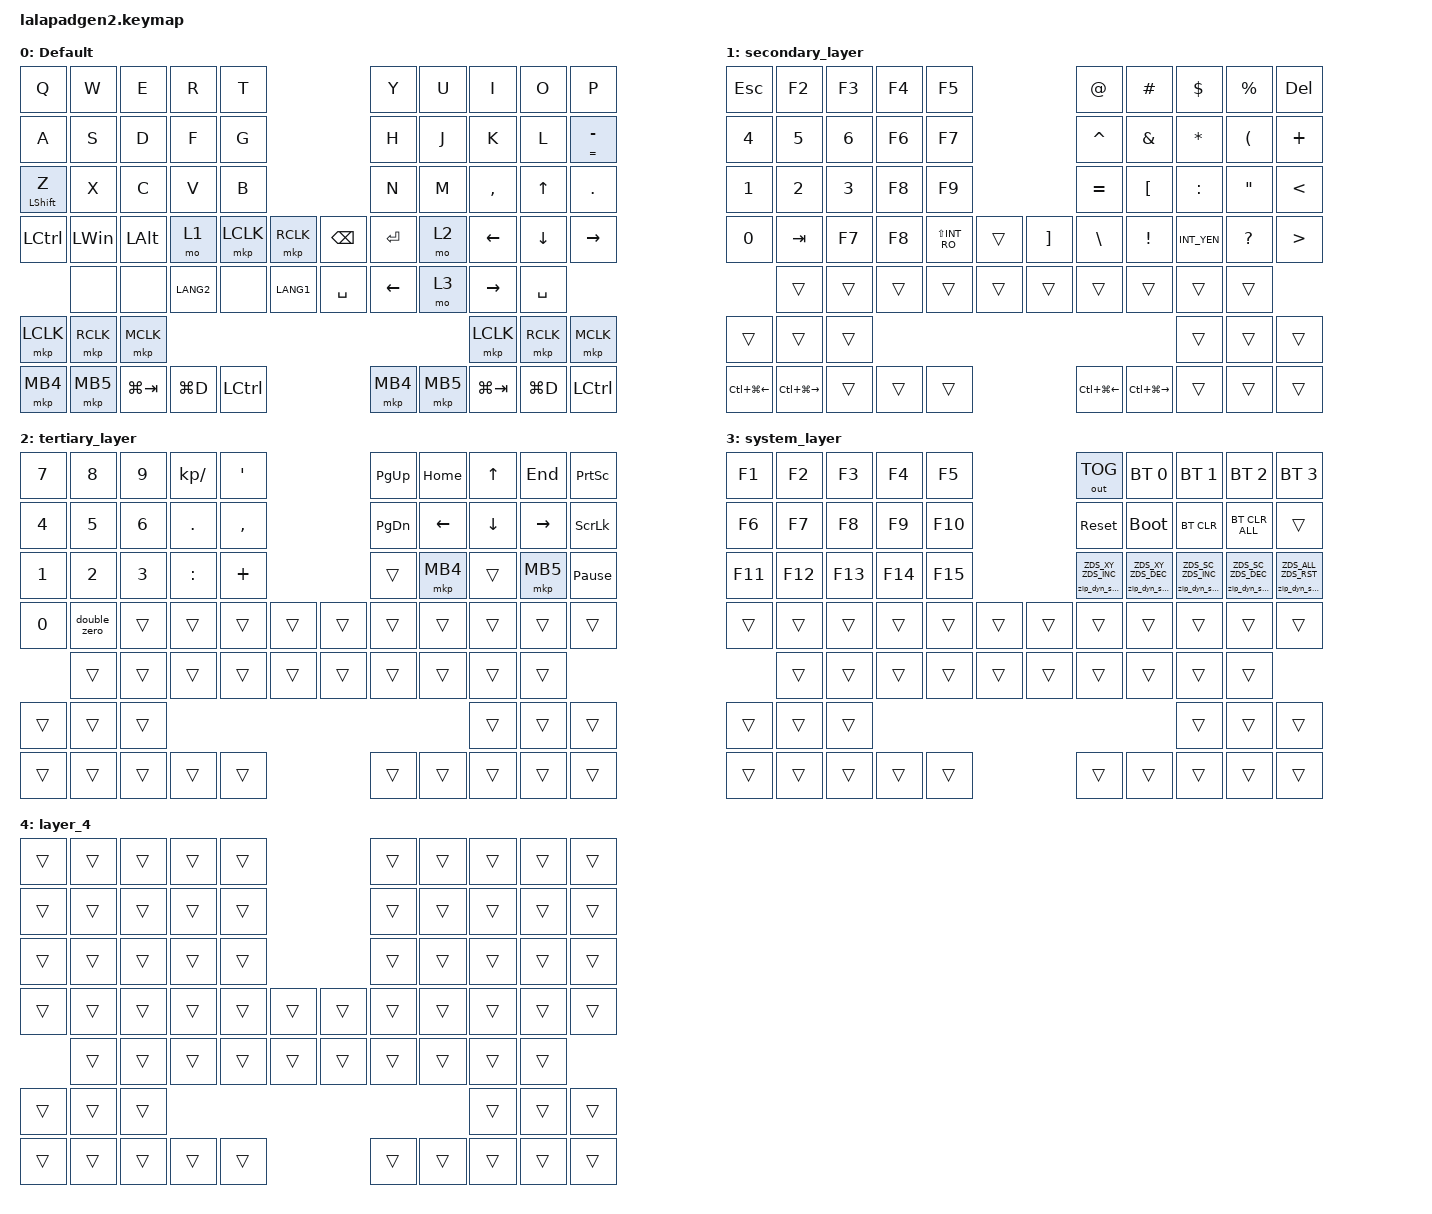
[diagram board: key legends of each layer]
#include <input/processors.dtsi>
#include <dt-bindings/zmk/zip_dynamic_scale.h>
#include <behaviors.dtsi>
#include <dt-bindings/zmk/bt.h>
#include <dt-bindings/zmk/keys.h>
#include <dt-bindings/zmk/outputs.h>
#include <dt-bindings/zmk/pointing.h>

#define DEFAULT_LAYER   0
#define SECONDARY_LAYER 1
#define TERTIARY_LAYER  2
#define SYSTEM_LAYER    3

&mt { quick-tap-ms = <200>; };

&lt { quick-tap-ms = <200>; };

/ {
    behaviors {
        zip_dyn_scale: zip_dyn_scale {
            compatible = "zmk,behavior-zip-dynamic-scale";
            #binding-cells = <2>;
        };

        zip_dyn_scale_set: zip_dyn_scale_set {
            compatible = "zmk,behavior-zip-dynamic-scale-set";
            #binding-cells = <2>;
        };

        mt2: mod_tap2 {
            compatible = "zmk,behavior-hold-tap";
            #binding-cells = <2>;
            flavor = "tap-preferred";
            tapping-term-ms = <200>;
            quick-tap-ms = <200>;
            require-prior-idle-ms = <125>;
            bindings = <&kp>, <&kp>;
        };

        tap_dance_layer_1and2: tap_dance_layer_1and2 {
            compatible = "zmk,behavior-tap-dance";
            label = "td_mo12";
            #binding-cells = <0>;
            bindings = <&mo 1>, <&mo 2>;
        };
    };

    macros {
        double_zero: double_zero {
            compatible = "zmk,behavior-macro";
            #binding-cells = <0>;
            bindings = <&kp N0 &kp N0>;
        };
    };

    combos {
        compatible = "zmk,combos";

        CONBO_ESC {
            bindings = <&kp ESCAPE>;
            key-positions = <0 1>;
        };

        COMBO_TAB {
            bindings = <&kp TAB>;
            key-positions = <10 11>;
        };
    };

    keymap {
        compatible = "zmk,keymap";

        DEFAULT_LAYER {
            display-name = "Default";
            bindings = <
&kp Q              &kp W      &kp E         &kp R      &kp T                                &kp Y      &kp U     &kp I        &kp O         &kp P
&kp A              &kp S      &kp D         &kp F      &kp G                                &kp H      &kp J     &kp K        &kp L         &mt2 EQUAL MINUS
&mt2 LEFT_SHIFT Z  &kp X      &kp C         &kp V      &kp B                                &kp N      &kp M     &kp COMMA    &kp UP_ARROW  &kp PERIOD
&kp LCTRL          &kp LWIN   &kp LEFT_ALT  &mo 1      &mkp LCLK  &mkp RCLK  &kp BACKSPACE  &kp ENTER  &mo 2     &kp LEFT     &kp DOWN      &kp RIGHT
                   &none      &none         &kp LANG2  &none      &kp LANG1  &kp SPACE      &kp LEFT   &mo 3     &kp RIGHT    &kp SPACE
&mkp LCLK          &mkp RCLK  &mkp MCLK                                                                          &mkp LCLK    &mkp RCLK     &mkp MCLK
&mkp MB4           &mkp MB5   &kp LG(TAB)   &kp LG(D)  &kp LCTRL                            &mkp MB4   &mkp MB5  &kp LG(TAB)  &kp LG(D)     &kp LCTRL
            >;
        };

        SECONDARY_LAYER {
            display-name = "secondary_layer";
            bindings = <
&kp ESCAPE        &kp F2             &kp F3        &kp F4  &kp F5                                     &kp AT_SIGN       &kp HASH           &kp DOLLAR    &kp PERCENT           &kp DELETE
&kp NUMBER_4      &kp N5             &kp NUMBER_6  &kp F6  &kp F7                                     &kp CARET         &kp AMPERSAND      &kp ASTERISK  &kp LEFT_PARENTHESIS  &kp PLUS
&kp NUMBER_1      &kp NUMBER_2       &kp NUMBER_3  &kp F8  &kp F9                                     &kp EQUAL         &kp LEFT_BRACKET   &kp COLON     &kp DOUBLE_QUOTES     &kp LESS_THAN
&kp N0            &kp TAB            &kp F7        &kp F8  &kp LS(INT_RO)  &trans  &kp RIGHT_BRACKET  &kp BSLH          &kp EXCLAMATION    &kp INT_YEN   &kp QUESTION          &kp GREATER_THAN
                  &trans             &trans        &trans  &trans          &trans  &trans             &trans            &trans             &trans        &trans
&trans            &trans             &trans                                                                                                &trans        &trans                &trans
&kp LC(LG(LEFT))  &kp LC(LG(RIGHT))  &trans        &trans  &trans                                     &kp LC(LG(LEFT))  &kp LC(LG(RIGHT))  &trans        &trans                &trans
            >;
        };

        TERTIARY_LAYER {
            display-name = "tertiary_layer";
            bindings = <
&kp NUMBER_7  &kp NUMBER_8  &kp NUMBER_9  &kp KP_SLASH  &kp SINGLE_QUOTE                  &kp PAGE_UP    &kp HOME  &kp UP_ARROW    &kp END    &kp PRINTSCREEN
&kp NUMBER_4  &kp NUMBER_5  &kp NUMBER_6  &kp PERIOD    &kp COMMA                         &kp PAGE_DOWN  &kp LEFT  &kp DOWN_ARROW  &kp RIGHT  &kp SCROLLLOCK
&kp NUMBER_1  &kp NUMBER_2  &kp NUMBER_3  &kp COLON     &kp PLUS                          &trans         &mkp MB4  &trans          &mkp MB5   &kp PAUSE_BREAK
&kp NUMBER_0  &double_zero  &trans        &trans        &trans            &trans  &trans  &trans         &trans    &trans          &trans     &trans
              &trans        &trans        &trans        &trans            &trans  &trans  &trans         &trans    &trans          &trans
&trans        &trans        &trans                                                                                 &trans          &trans     &trans
&trans        &trans        &trans        &trans        &trans                            &trans         &trans    &trans          &trans     &trans
            >;
        };

        SYSTEM_LAYER {
            display-name = "system_layer";
            bindings = <
&kp F1   &kp F2   &kp F3   &kp F4   &kp F5                   &out OUT_TOG                   &bt BT_SEL 0                   &bt BT_SEL 1                   &bt BT_SEL 2                   &bt BT_SEL 3
&kp F6   &kp F7   &kp F8   &kp F9   &kp F10                  &sys_reset                     &bootloader                    &bt BT_CLR                     &bt BT_CLR_ALL                 &trans
&kp F11  &kp F12  &kp F13  &kp F14  &kp F15                  &zip_dyn_scale ZDS_XY ZDS_INC  &zip_dyn_scale ZDS_XY ZDS_DEC  &zip_dyn_scale ZDS_SC ZDS_INC  &zip_dyn_scale ZDS_SC ZDS_DEC  &zip_dyn_scale ZDS_ALL ZDS_RST
&trans   &trans   &trans   &trans   &trans   &trans  &trans  &trans                         &trans                         &trans                         &trans                         &trans
         &trans   &trans   &trans   &trans   &trans  &trans  &trans                         &trans                         &trans                         &trans
&trans   &trans   &trans                                                                                                   &trans                         &trans                         &trans
&trans   &trans   &trans   &trans   &trans                   &trans                         &trans                         &trans                         &trans                         &trans
            >;
        };

        layer_4 {
            bindings = <
&trans  &trans  &trans  &trans  &trans                  &trans  &trans  &trans  &trans  &trans
&trans  &trans  &trans  &trans  &trans                  &trans  &trans  &trans  &trans  &trans
&trans  &trans  &trans  &trans  &trans                  &trans  &trans  &trans  &trans  &trans
&trans  &trans  &trans  &trans  &trans  &trans  &trans  &trans  &trans  &trans  &trans  &trans
        &trans  &trans  &trans  &trans  &trans  &trans  &trans  &trans  &trans  &trans
&trans  &trans  &trans                                                  &trans  &trans  &trans
&trans  &trans  &trans  &trans  &trans                  &trans  &trans  &trans  &trans  &trans
            >;
        };
    };

    conditional_layers {
        compatible = "zmk,conditional-layers";

        Cond_Syslayer {
            if-layers = <1 2>;
            then-layer = <3>;
        };
    };
};
